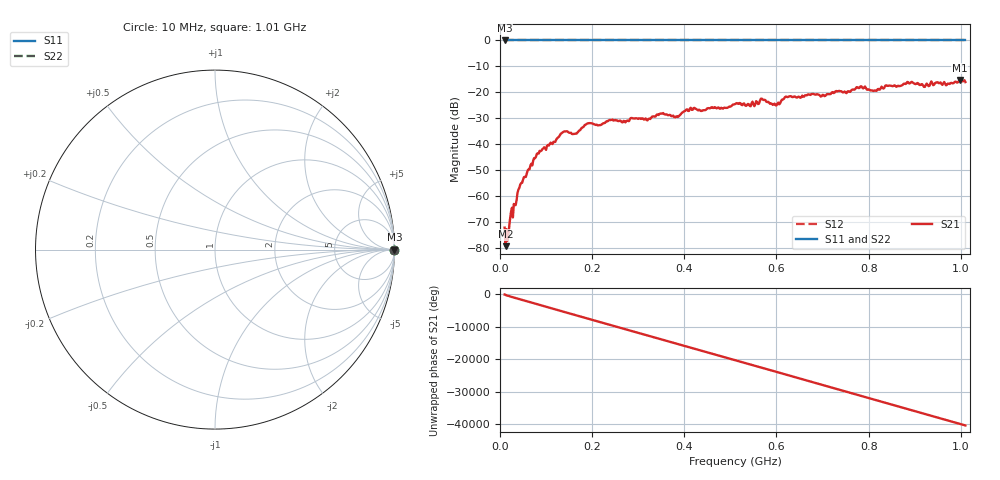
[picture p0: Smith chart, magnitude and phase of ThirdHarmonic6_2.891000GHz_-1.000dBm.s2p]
! 8/17/2025 7:57:41 AM
! C:\ANRITSUVNA\TEMP\TEMP.S2P
! CHANNEL.1
! TR.MEASUREMENT
! RAW.DATA
! RF.CORRECTION.OFF
! AVERAGING.OFF
! IF.BANDWIDTH: 5KHZ
! SWEEPTYPE:  FREQ.SWEEP(Linear)
! Reference Plane Port Info
! PORT:  PORT1  PORT2
! DISTANCE:  0  m  0  m
! TIME:  0  s  0  s
! PHASE.OFFSET:  0  deg.  0  deg.
! LOSS:  0  dB  0  dB
! REF.LOSS:  0  dB  0  dB
! REF.FREQ:  0  Hz  0  Hz
! Power Info
! POWER:  -20  dBm  -20  dBm
! EFF.POWER:  -20  dBm  -20  dBm
! SOURCE.ATTEN:  0  dB  0  dB
! TEST.ATTEN:  0  dB  0  dB
# GHZ S RI R 50.0
! FREQ.GHZ  S11RE  S11IM  S21RE  S21IM  S12RE  S12IM  S22RE  S22IM
!; PortSelection: Port_12
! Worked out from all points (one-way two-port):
!   501 points, 10 MHz to 1.01 GHz, reference 50 ohm
!   highest |S21| = -15.26 dB at 998 MHz (marker M1); lowest = -79.2 dB at 12 MHz (marker M2)
!   lowest |S11| = 0.0 dB at 10 MHz (marker M3)
!   |S11| at or under -10 dB: nowhere
!   |S22| runs from 0.0 to 0.0 dB; largest |S21 - S12| = 1.2
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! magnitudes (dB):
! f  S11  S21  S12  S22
! 10 MHz  0.0  -72.0  0.0  0.0
! 12 MHz  0.0  -79.2  0.0  0.0
! 16 MHz  0.0  -77.1  0.0  0.0
! 26 MHz  0.0  -64.4  0.0  0.0
! 32 MHz  0.0  -63.3  0.0  0.0
! 42 MHz  0.0  -56.7  0.0  0.0
! 78 MHz  0.0  -44.8  0.0  0.0
! 136 MHz  0.0  -35.4  0.0  0.0
! 162 MHz  0.0  -35.9  0.0  0.0
! 178 MHz  0.0  -33.5  0.0  0.0
! 192 MHz  0.0  -31.8  0.0  0.0
! 344 MHz  0.0  -28.7  0.0  0.0
! 382 MHz  0.0  -29.3  0.0  0.0
! 416 MHz  0.0  -26.7  0.0  0.0
! 510 MHz  0.0  -24.5  0.0  0.0
! 570 MHz  0.0  -22.7  0.0  0.0
! 596 MHz  0.0  -24.3  0.0  0.0
! 622 MHz  0.0  -21.7  0.0  0.0
! 678 MHz  0.0  -20.6  0.0  0.0
! 844 MHz  0.0  -17.4  0.0  0.0
! 998 MHz  0.0  -15.3  0.0  0.0
! 1.01 GHz  0.0  -16.0  0.0  0.0
